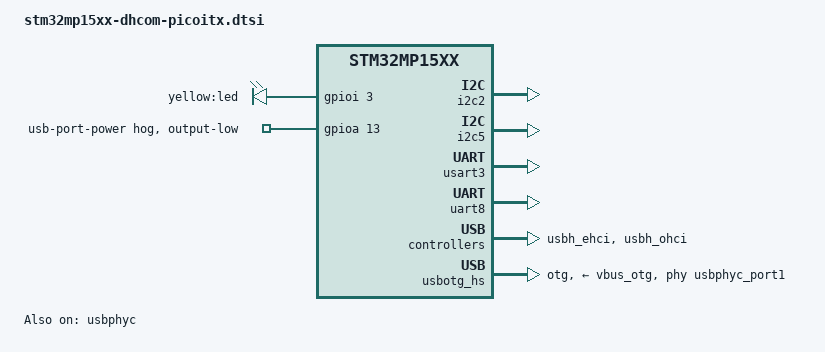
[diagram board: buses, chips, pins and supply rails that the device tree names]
// SPDX-License-Identifier: GPL-2.0+ OR BSD-3-Clause
/*
 * Copyright (C) 2020 Marek Vasut <marex@denx.de>
 */

#include <dt-bindings/input/input.h>
#include <dt-bindings/pwm/pwm.h>

/ {
	led {
		compatible = "gpio-leds";

		led-0 {
			label = "yellow:led";
			gpios = <&gpioi 3 GPIO_ACTIVE_HIGH>;
			default-state = "off";
		};
	};
};

&adc {
	status = "disabled";
};

&dac {
	status = "disabled";
};

&fmc {
	status = "disabled";
};

&gpioa {
	/*
	 * NOTE: The USB Port on the PicoITX needs a PWR_EN signal to enable
	 * port power. This signal should be handled by USB power sequencing
	 * in order to turn on port power when USB bus is powered up, but so
	 * far there is no such functionality.
	 */
	usb-port-power-hog {
		gpio-hog;
		gpios = <13 0>;
		output-low;
		line-name = "usb-port-power";
	};
};

&gpioc {
	gpio-line-names = "", "", "", "",
			  "", "", "PicoITX-In1", "",
			  "", "", "", "",
			  "", "", "", "";
};

&gpiod {
	gpio-line-names = "", "", "", "",
			  "", "", "DHCOM-B", "",
			  "", "", "", "PicoITX-Out1",
			  "PicoITX-Out2", "", "", "";
};

&gpiog {
	gpio-line-names = "PicoITX-In2", "", "", "",
			  "", "", "", "",
			  "DHCOM-L", "", "", "",
			  "", "", "", "";
};

&i2c2 {	/* On board-to-board connector (optional) */
	pinctrl-names = "default";
	pinctrl-0 = <&i2c2_pins_a>;
	i2c-scl-rising-time-ns = <185>;
	i2c-scl-falling-time-ns = <20>;
	status = "okay";
	/* spare dmas for other usage */
	/delete-property/dmas;
	/delete-property/dma-names;
};

&i2c5 {	/* On board-to-board connector */
	pinctrl-names = "default";
	pinctrl-0 = <&i2c5_pins_a>;
	i2c-scl-rising-time-ns = <185>;
	i2c-scl-falling-time-ns = <20>;
	status = "okay";
	/* spare dmas for other usage */
	/delete-property/dmas;
	/delete-property/dma-names;
};

&ksz8851 {
	status = "disabled";
};

&usart3 {
	pinctrl-names = "default";
	pinctrl-0 = <&usart3_pins_a>;
	/delete-property/dmas;
	/delete-property/dma-names;
	status = "okay";
};

&uart8 {
	pinctrl-names = "default";
	pinctrl-0 = <&uart8_pins_a &uart8_rtscts_pins_a>;
	/delete-property/dmas;
	/delete-property/dma-names;
	status = "okay";
};

&usbh_ehci {
	status = "okay";
};

&usbh_ohci {
	status = "okay";
};

&usbotg_hs {
	dr_mode = "otg";
	pinctrl-0 = <&usbotg_hs_pins_a>;
	pinctrl-names = "default";
	phy-names = "usb2-phy";
	phys = <&usbphyc_port1 0>;
	vbus-supply = <&vbus_otg>;
	status = "okay";
};

&usbphyc {
	status = "okay";
};

&usbphyc_port0 {
	phy-supply = <&vdd_usb>;
};

&usbphyc_port1 {
	phy-supply = <&vdd_usb>;
};
